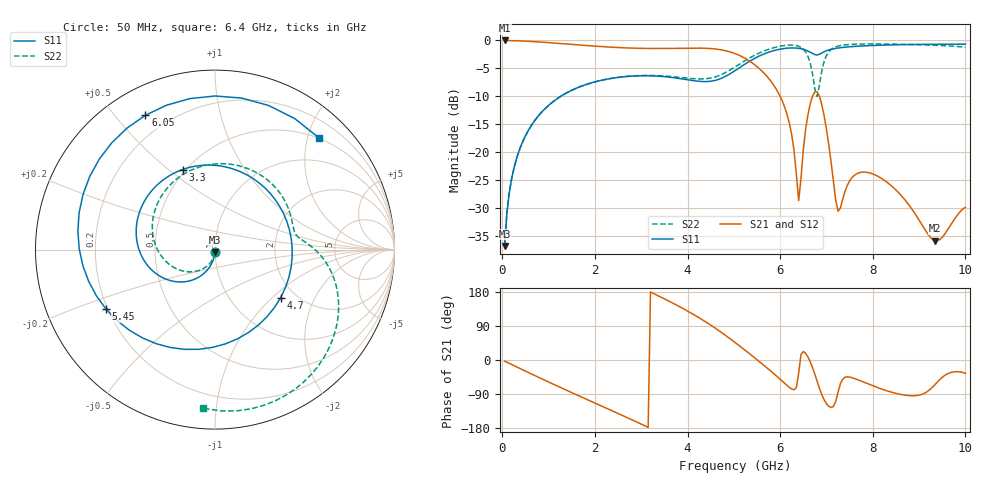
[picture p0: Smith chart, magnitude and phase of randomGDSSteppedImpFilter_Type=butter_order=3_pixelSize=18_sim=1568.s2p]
! freq	dB(S11)	phase(S11)	dB(S12)	phase(S12)
!  dB(S21)	phase(S21)	dB(S22)	phase(S22)
!S-par simulation data
#  GHz  S  DB  R 50
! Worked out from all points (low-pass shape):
!   200 points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, 50 MHz to 10 GHz, reference 50 ohm
!   highest |S21| = -0.01 dB at 50 MHz (marker M1); lowest = -35.8 dB at 9.35 GHz (marker M2)
!   |S21| within 3 dB of the highest: start of sweep to 5.201 GHz
!   lowest |S11| = -36.7 dB at 50 MHz (marker M3), VSWR 1.03, Z = 49.9 - j1.46 ohm
!   |S11| at or under -10 dB: start of sweep to 1.257 GHz
!   |S22| runs from -36.7 to -0.6 dB; largest |S21 - S12| = 0
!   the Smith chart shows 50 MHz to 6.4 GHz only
!   S11 on the Smith chart (normalised r, x): 50 MHz: 1.00, -0.03; 3.3 GHz: 0.48, +0.56; 4.7 GHz: 1.68, -1.13; 5.45 GHz: 0.19, -0.25; 6.05 GHz: 0.12, +0.60; 6.4 GHz: 0.49, +2.19
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0.05  -36.72 -92.1  -0.01 -3.0  -0.01 -3.0  -36.74 -93.4
0.2  -24.77 -99.6  -0.03 -11.8  -0.03 -11.8  -24.79 -104.4
0.5  -17.04 -113.9  -0.13 -29.3  -0.13 -29.3  -17.06 -125.8
1.75  -8.04 -170.1  -0.87 -99.9  -0.87 -99.9  -8.05 148.9
3.3  -6.35 112.0  -1.44 173.4  -1.44 173.4  -6.27 54.3
3.4  -6.40 105.5  -1.44 167.5  -1.44 167.5  -6.30 49.0
4.05  -7.09 50.9  -1.37 125.7  -1.37 125.7  -6.78 20.8
4.7  -6.87 -36.2  -1.64 75.5  -1.64 75.5  -6.21 6.2
5.05  -5.27 -91.5  -2.43 44.1  -2.43 44.1  -4.61 -3.1
5.45  -3.20 -151.3  -4.34 5.7  -4.34 5.7  -2.64 -21.4
5.75  -2.11 164.9  -6.76 -24.3  -6.76 -24.3  -1.59 -39.2
6.05  -1.49 117.4  -10.90 -56.2  -10.90 -56.2  -0.96 -60.0
6.4  -1.41 47.3  -28.60 -34.5  -28.60 -34.5  -1.04 -94.2
6.55  -1.72 10.6  -15.90 17.6  -15.90 17.6  -2.06 -120.0
6.7  -2.35 -26.4  -9.91 -20.3  -9.91 -20.3  -6.02 -172.8
6.85  -2.47 -57.5  -10.00 -75.3  -10.00 -75.3  -7.86 43.6
7  -1.85 -88.8  -15.89 -115.4  -15.89 -115.4  -2.69 -23.3
7.25  -1.36 -133.8  -30.50 -85.2  -30.50 -85.2  -1.01 -62.4
7.55  -1.10 -172.9  -24.52 -46.6  -24.52 -46.6  -0.70 -85.0
8.35  -0.81 120.0  -25.60 -82.9  -25.60 -82.9  -0.65 -122.5
9.35  -0.68 62.2  -35.76 -64.1  -35.76 -64.1  -0.86 -163.9
10  -0.67 30.8  -29.81 -35.0  -29.81 -35.0  -1.23 163.1
